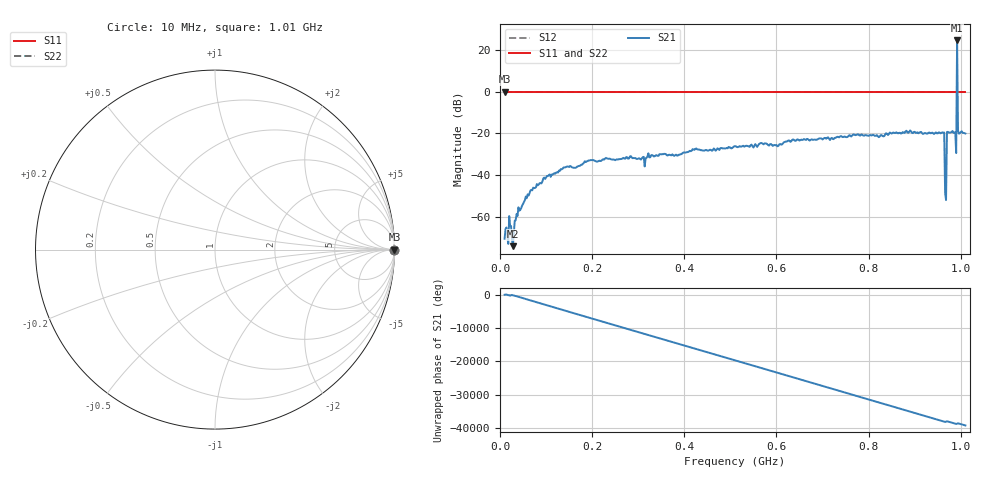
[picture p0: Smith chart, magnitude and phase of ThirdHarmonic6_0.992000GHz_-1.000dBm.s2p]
! 8/16/2025 7:52:34 AM
! C:\ANRITSUVNA\TEMP\TEMP.S2P
! CHANNEL.1
! TR.MEASUREMENT
! RAW.DATA
! RF.CORRECTION.OFF
! AVERAGING.OFF
! IF.BANDWIDTH: 5KHZ
! SWEEPTYPE:  FREQ.SWEEP(Linear)
! Reference Plane Port Info
! PORT:  PORT1  PORT2
! DISTANCE:  0  m  0  m
! TIME:  0  s  0  s
! PHASE.OFFSET:  0  deg.  0  deg.
! LOSS:  0  dB  0  dB
! REF.LOSS:  0  dB  0  dB
! REF.FREQ:  0  Hz  0  Hz
! Power Info
! POWER:  -20  dBm  -20  dBm
! EFF.POWER:  -20  dBm  -20  dBm
! SOURCE.ATTEN:  0  dB  0  dB
! TEST.ATTEN:  0  dB  0  dB
# GHZ S RI R 50.0
! FREQ.GHZ  S11RE  S11IM  S21RE  S21IM  S12RE  S12IM  S22RE  S22IM
!; PortSelection: Port_12
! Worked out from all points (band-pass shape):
!   501 points, 10 MHz to 1.01 GHz, reference 50 ohm
!   highest |S21| = 24.57 dB at 992 MHz (marker M1); lowest = -74.0 dB at 28 MHz (marker M2)
!   |S21| within 3 dB of the highest: 991.8888 MHz to 992.1388 MHz (250.1 kHz wide, 0.0252 % of centre)
!   lowest |S11| = 0.0 dB at 10 MHz (marker M3)
!   |S11| at or under -10 dB: nowhere
!   |S22| runs from 0.0 to 0.0 dB; largest |S21 - S12| = 17
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0.01  1 0  9.11e-05 -0.000288  1 0  1 0
0.02  1 0  -0.00105 9.76e-05  1 0  1 0
0.028  1 0  -6.88e-05 0.000188  1 0  1 0
0.036  1 0  -0.000956 -0.000692  1 0  1 0
0.07  1 0  -0.00113 -0.00421  1 0  1 0
0.136  1 0  0.00136 0.0143  1 0  1 0
0.178  1 0  -0.0177 -0.00226  1 0  1 0
0.344  1 0  0.0272 -0.0105  1 0  1 0
0.51  1 0  -0.0404 0.0289  1 0  1 0
0.678  1 0  -0.0553 -0.045  1 0  1 0
0.844  1 0  0.0966 0.0142  1 0  1 0
0.96  1 0  0.106 -0.00513  1 0  1 0
0.964  1 0  -0.1016 -0.0286  1 0  1 0
0.97  1 0  0.0736 -0.0796  1 0  1 0
0.974  1 0  -0.0913 0.053  1 0  1 0
0.984  1 0  -0.0335 0.0982  1 0  1 0
0.986  1 0  0.0904 0.0494  1 0  1 0
0.988  1 0  0.0687 -0.0832  1 0  1 0
0.992  1 0  4.178 -16.4  1 0  1 0
0.996  1 0  0.0916 -0.038  1 0  1 0
0.998  1 0  -0.0146 -0.1005  1 0  1 0
1.01  1 0  -0.0709 0.0703  1 0  1 0
